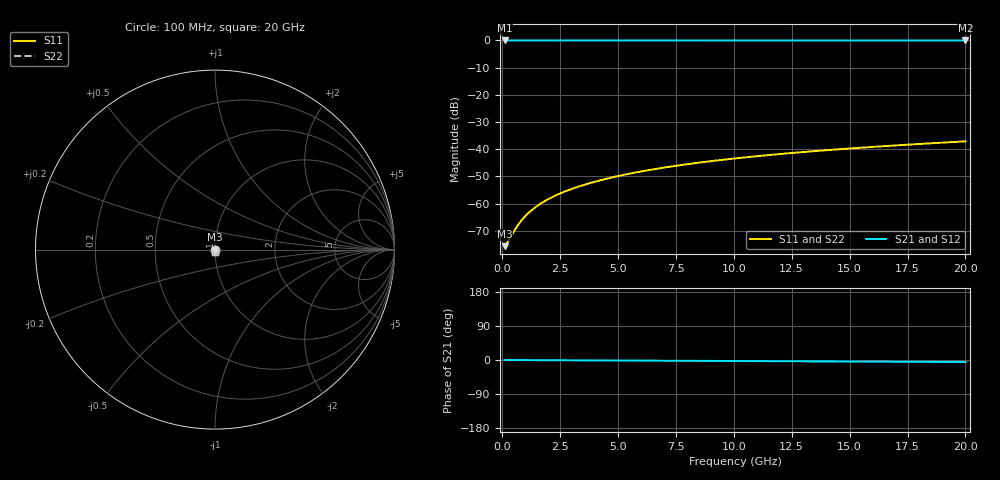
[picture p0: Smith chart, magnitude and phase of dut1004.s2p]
! Touchstone file exported from HFSS 2026.1.0
!  File:  C:/ffzhzh/LocalFiles/Ansys_Project_Files/temp_train_TSV_1004_1783188449_22436.aedt
!  Generated:  02:08:53 AM Jul  5, 2026
!  Design:  TSV
!  Project:  temp_train_TSV_1004_1783188449_22436
! Variables:
!  h_bsmrdl = 2um
!  h_ox = 20um
!  h_rdl = 5um
!  h_sub = 54.54um
!  h_tmrdl = 5um
!  h_tsv = 54.54um
!  h_via = 3um
!  l_bsmrdl = 300um
!  l_sub = 414.46um
!  l_tmrdl = 200um
!  m_sub = 200um
!  pitch = 25.22um
!  r_tsv = 7.23um
!  s_tmrdl = 10um
!  w_bsmrdl = 18um
!  w_sub = 500um
!  w_tmrdl = 12um
!  x_tsv_center1 = 206um
!  x_tsv_center2 = 524um
!  x_tsv_center3 = 736um
!  x_tsv_center4 = 1054um
!  x_tsv_center5 = 1266um
!  x_tsv_center6 = 1584um
# GHz S MA R 50.000000
! Terminal data exported
! Port[1] = TSV1_1_T1
! Port[2] = TSV1_1_T2
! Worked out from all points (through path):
!   200 points, 100 MHz to 20 GHz, reference 50 ohm
!   highest |S21| = 0.00 dB at 100 MHz (marker M1); lowest = 0.0 dB at 20 GHz (marker M2)
!   lowest |S11| = -75.7 dB at 100 MHz (marker M3), VSWR 1.00, Z = 50 - j0.00276 ohm
!   |S11| at or under -10 dB: start of sweep to end of sweep
!   |S22| runs from -75.7 to -37.1 dB; largest |S21 - S12| = 2e-15
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0.1  0.0001645 -9.7  0.9998 -0.0  0.9998 -0.0  0.0001645 -9.7
! Gamma 0 0 0 0
! Port Impedance 50 0 50 0
0.2  0.0001853 -18.6  0.9998 -0.1  0.9998 -0.1  0.0001853 -18.6
0.6  0.0003593 -43.7  0.9997 -0.2  0.9997 -0.2  0.0003593 -43.7
0.8  0.0004725 -51.4  0.9997 -0.2  0.9997 -0.2  0.0004725 -51.4
0.9  0.0005315 -54.4  0.9997 -0.3  0.9997 -0.3  0.0005315 -54.4
1.1  0.0006523 -59.2  0.9997 -0.3  0.9997 -0.3  0.0006523 -59.2
1.4  0.0008372 -64.3  0.9996 -0.4  0.9996 -0.4  0.0008372 -64.3
1.6  0.0009619 -66.8  0.9996 -0.4  0.9996 -0.4  0.0009619 -66.8
1.8  0.001087 -68.8  0.9996 -0.5  0.9996 -0.5  0.001087 -68.8
2.3  0.001405 -72.4  0.9996 -0.6  0.9996 -0.6  0.001405 -72.4
2.9  0.001793 -75.1  0.9995 -0.8  0.9995 -0.8  0.001793 -75.1
3.5  0.002188 -76.9  0.9995 -1.0  0.9995 -1.0  0.002188 -76.9
4.2  0.002658 -78.5  0.9994 -1.2  0.9994 -1.2  0.002658 -78.5
5  0.003204 -79.9  0.9994 -1.4  0.9994 -1.4  0.003204 -79.9
5.9  0.003827 -81.1  0.9993 -1.6  0.9993 -1.6  0.003827 -81.1
6.8  0.004457 -82.1  0.9992 -1.9  0.9992 -1.9  0.004457 -82.1
8.3  0.005517 -83.6  0.9992 -2.3  0.9992 -2.3  0.005517 -83.6
10.1  0.006797 -85.0  0.9991 -2.7  0.9991 -2.7  0.006797 -85.0
11.7  0.00794 -86.1  0.999 -3.2  0.999 -3.2  0.007939 -86.1
13.4  0.009157 -87.1  0.9989 -3.6  0.9989 -3.6  0.009157 -87.1
16.7  0.01153 -88.7  0.9988 -4.5  0.9988 -4.5  0.01153 -88.7
20  0.01393 -90.0  0.9986 -5.4  0.9986 -5.4  0.01393 -90.0
